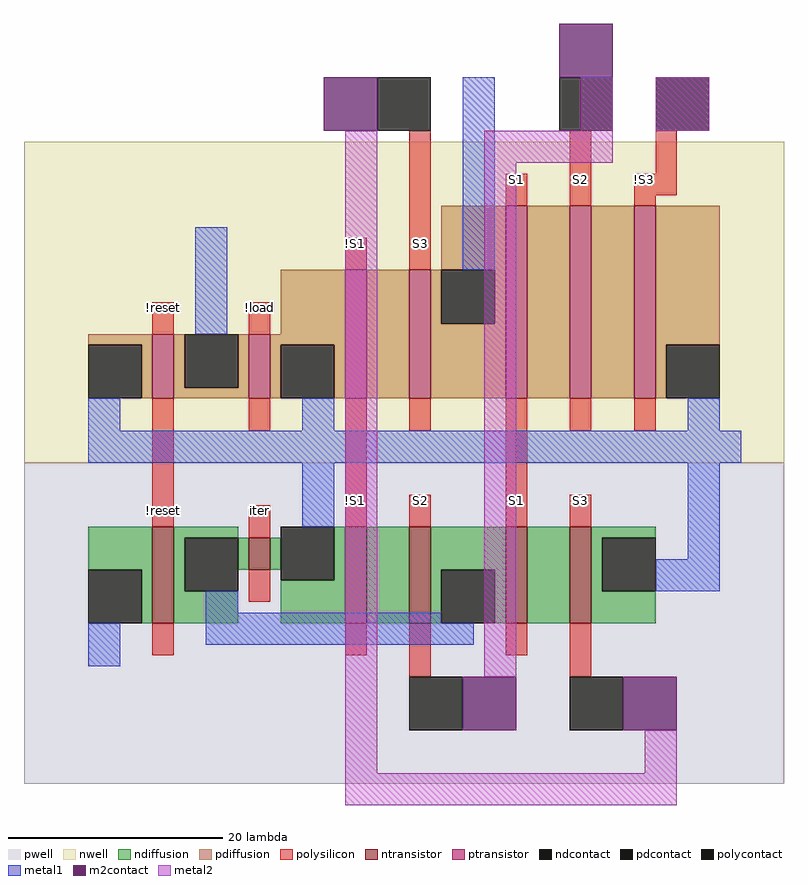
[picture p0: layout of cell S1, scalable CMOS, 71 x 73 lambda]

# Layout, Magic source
magic
tech scmos
<< nwell >>
rect -6 -16 65 14
<< pwell >>
rect -6 -46 65 -16
<< ntransistor >>
rect 6 -31 8 -22
rect 15 -26 17 -23
rect 24 -31 26 -22
rect 30 -31 32 -22
rect 39 -31 41 -22
rect 45 -31 47 -22
<< ptransistor >>
rect 6 -10 8 -4
rect 15 -10 17 -4
rect 24 -10 26 2
rect 30 -10 32 2
rect 39 -10 41 8
rect 45 -10 47 8
rect 51 -10 53 8
<< ndiffusion >>
rect 0 -26 6 -22
rect 5 -31 6 -26
rect 8 -23 14 -22
rect 8 -28 9 -23
rect 14 -26 15 -23
rect 17 -26 18 -23
rect 8 -31 14 -28
rect 23 -27 24 -22
rect 18 -31 24 -27
rect 26 -31 30 -22
rect 32 -26 39 -22
rect 32 -31 33 -26
rect 38 -31 39 -26
rect 41 -31 45 -22
rect 47 -23 53 -22
rect 47 -28 48 -23
rect 47 -31 53 -28
<< pdiffusion >>
rect 33 2 39 8
rect 18 -4 24 2
rect 0 -5 6 -4
rect 5 -10 6 -5
rect 8 -9 9 -4
rect 14 -9 15 -4
rect 8 -10 15 -9
rect 17 -5 24 -4
rect 17 -10 18 -5
rect 23 -10 24 -5
rect 26 -10 30 2
rect 32 -3 33 2
rect 38 -3 39 2
rect 32 -10 39 -3
rect 41 -10 45 8
rect 47 -10 51 8
rect 53 -5 59 8
rect 53 -10 54 -5
<< ndcontact >>
rect 0 -31 5 -26
rect 9 -28 14 -23
rect 18 -27 23 -22
rect 33 -31 38 -26
rect 48 -28 53 -23
<< pdcontact >>
rect 0 -10 5 -5
rect 9 -9 14 -4
rect 18 -10 23 -5
rect 33 -3 38 2
rect 54 -10 59 -5
<< polysilicon >>
rect 24 2 26 5
rect 30 2 32 15
rect 39 8 41 11
rect 45 8 47 15
rect 53 11 55 15
rect 51 9 55 11
rect 51 8 53 9
rect 6 -4 8 -1
rect 15 -4 17 -1
rect 6 -22 8 -10
rect 15 -13 17 -10
rect 15 -23 17 -20
rect 24 -22 26 -10
rect 30 -13 32 -10
rect 30 -22 32 -19
rect 39 -22 41 -10
rect 45 -13 47 -10
rect 51 -13 53 -10
rect 45 -22 47 -19
rect 15 -29 17 -26
rect 6 -34 8 -31
rect 24 -34 26 -31
rect 30 -36 32 -31
rect 39 -34 41 -31
rect 45 -36 47 -31
<< polycontact >>
rect 27 15 32 20
rect 44 15 49 20
rect 53 15 58 20
rect 30 -41 35 -36
rect 45 -41 50 -36
<< metal1 >>
rect 10 -4 13 6
rect 35 2 38 20
rect 0 -13 3 -10
rect 20 -13 23 -10
rect 56 -13 59 -10
rect 0 -16 61 -13
rect 20 -22 23 -16
rect 11 -30 14 -28
rect 11 -31 33 -30
rect 56 -25 59 -16
rect 53 -28 59 -25
rect 0 -35 3 -31
rect 11 -33 36 -31
<< m2contact >>
rect 44 20 49 25
rect 22 15 27 20
rect 35 -41 40 -36
rect 50 -41 55 -36
<< metal2 >>
rect 46 15 49 20
rect 53 15 58 20
rect 24 -45 27 15
rect 37 12 49 15
rect 37 -36 40 12
rect 52 -45 55 -41
rect 24 -48 55 -45
<< labels >>
rlabel polysilicon 6 -2 8 -1 1 !reset
rlabel polysilicon 15 -2 17 -1 1 !load
rlabel polysilicon 6 -21 8 -20 1 !reset
rlabel polysilicon 15 -21 17 -20 1 iter
rlabel polysilicon 24 -20 26 -19 1 !S1
rlabel polysilicon 30 -20 32 -19 1 S2
rlabel polysilicon 45 -20 47 -19 1 S3
rlabel polysilicon 24 4 26 5 1 !S1
rlabel polysilicon 30 4 32 5 1 S3
rlabel polysilicon 39 10 41 11 1 S1
rlabel polysilicon 45 10 47 11 1 S2
rlabel polysilicon 51 10 53 11 1 !S3
rlabel polysilicon 39 -20 41 -19 1 S1
<< end >>
